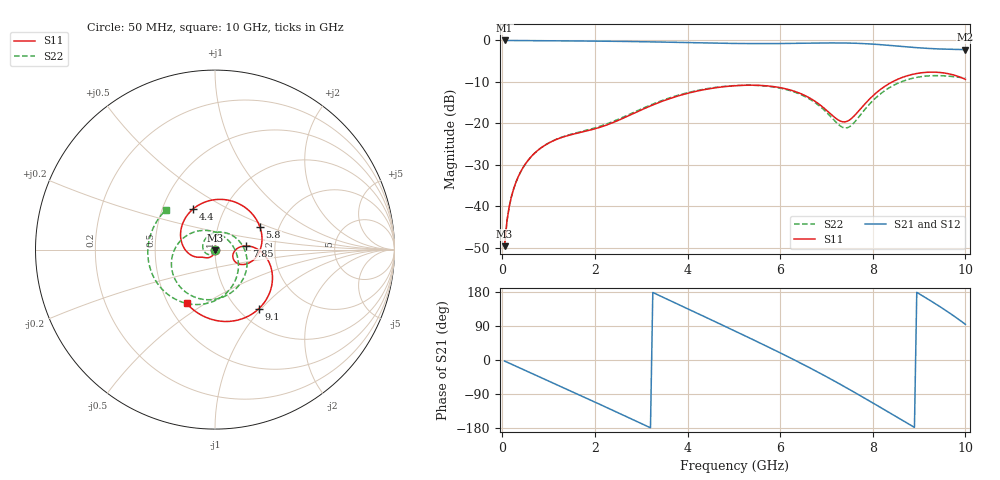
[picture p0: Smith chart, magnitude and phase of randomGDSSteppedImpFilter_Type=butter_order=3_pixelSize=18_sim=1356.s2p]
! freq	dB(S11)	phase(S11)	dB(S12)	phase(S12)
!  dB(S21)	phase(S21)	dB(S22)	phase(S22)
!S-par simulation data
#  GHz  S  DB  R 50
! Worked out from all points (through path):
!   200 points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, 50 MHz to 10 GHz, reference 50 ohm
!   highest |S21| = -0.01 dB at 50 MHz (marker M1); lowest = -2.2 dB at 10 GHz (marker M2)
!   group delay of S21, straight-line fit = 170 ps
!   lowest |S11| = -49.6 dB at 50 MHz (marker M3), VSWR 1.01, Z = 50 - j0.33 ohm
!   |S11| at or under -10 dB: start of sweep to 8.421 GHz
!   |S22| runs from -49.6 to -8.5 dB; largest |S21 - S12| = 0
!   S11 on the Smith chart (normalised r, x): 50 MHz: 1.00, -0.01; 4.4 GHz: 0.71, +0.35; 5.8 GHz: 1.60, +0.43; 7.85 GHz: 1.42, +0.06; 9.1 GHz: 1.22, -0.97; 10 GHz: 0.62, -0.42
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0.05  -49.62 -90.5  -0.01 -2.8  -0.01 -2.8  -49.64 -92.0
0.1  -43.60 -93.0  -0.01 -5.6  -0.01 -5.6  -43.61 -96.1
0.2  -37.56 -97.2  -0.02 -11.2  -0.02 -11.2  -37.59 -103.3
0.5  -29.78 -109.8  -0.04 -27.8  -0.04 -27.8  -29.82 -125.3
1.15  -23.97 -133.7  -0.09 -63.8  -0.09 -63.8  -23.92 -176.1
1.75  -22.03 -147.3  -0.14 -97.1  -0.14 -97.1  -21.85 130.2
2.2  -20.62 -152.8  -0.18 -122.3  -0.18 -122.3  -20.37 85.7
2.65  -18.56 -160.2  -0.24 -147.7  -0.24 -147.7  -18.31 42.9
3.4  -14.90 173.5  -0.39 169.6  -0.39 169.6  -14.70 -15.4
3.85  -13.22 150.5  -0.49 143.9  -0.49 143.9  -13.05 -43.5
4.4  -11.79 118.0  -0.62 112.4  -0.62 112.4  -11.67 -73.6
5.05  -10.91 75.9  -0.73 74.9  -0.73 74.9  -10.87 -106.0
5.8  -11.05 26.4  -0.76 30.9  -0.76 30.9  -11.15 -143.6
6.25  -12.06 -1.5  -0.72 3.7  -0.72 3.7  -12.23 -169.1
6.7  -14.30 -24.5  -0.65 -24.5  -0.65 -24.5  -14.59 159.2
7.4  -19.65 -12.4  -0.62 -71.1  -0.62 -71.1  -21.13 56.7
7.85  -15.08 6.7  -0.79 -102.6  -0.79 -102.6  -16.36 -30.7
8.35  -10.44 -11.2  -1.18 -138.2  -1.18 -138.2  -11.45 -82.5
8.7  -8.68 -30.1  -1.52 -163.3  -1.52 -163.3  -9.64 -112.2
9.1  -7.74 -53.5  -1.86 167.5  -1.86 167.5  -8.66 -144.7
9.55  -7.87 -82.2  -2.10 132.8  -2.10 132.8  -8.55 178.2
10  -9.39 -117.9  -2.21 94.1  -2.21 94.1  -9.07 140.8
